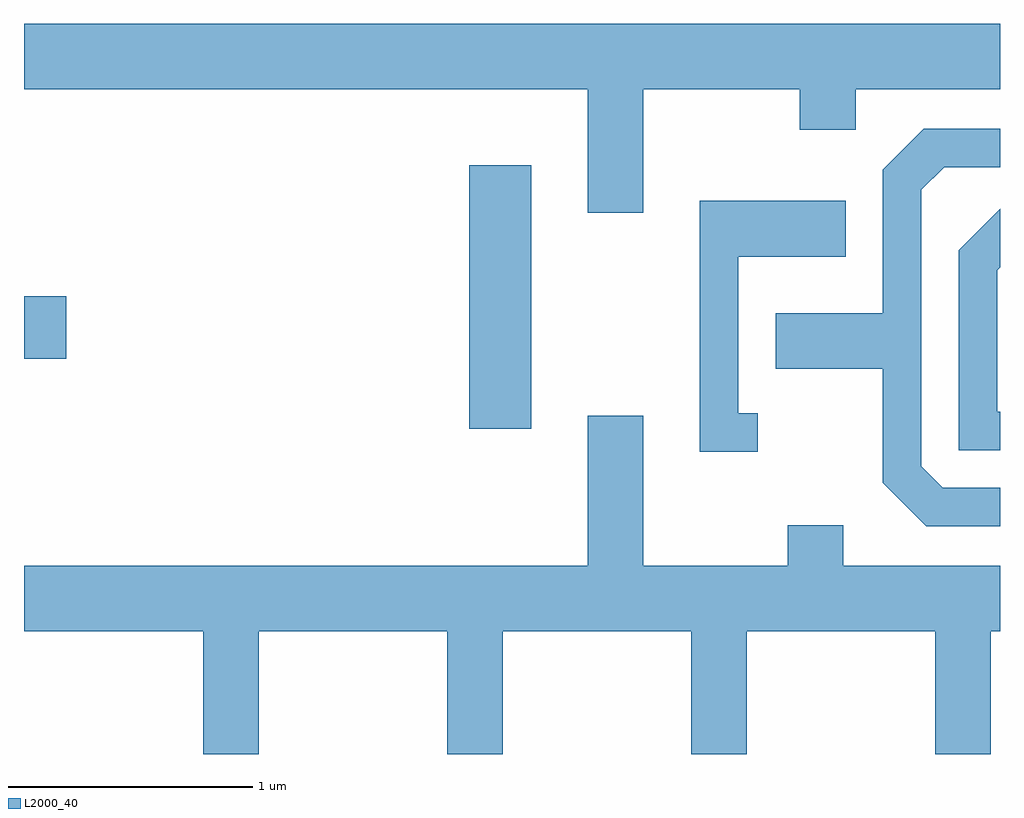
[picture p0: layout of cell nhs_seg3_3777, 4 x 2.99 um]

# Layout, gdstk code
import gdstk
lib = gdstk.Library(unit=1e-6, precision=1e-09)
def R(c, l, rs):  # rectangles x0, y0, x1, y1
    for r in rs: c.add(gdstk.rectangle(r[:2], r[2:], *l))
def P(c, l, *ps):  # polygons
    for p in ps: c.add(gdstk.Polygon(p, *l))
L2000_40 = (2000, 40)

nhs_seg3_3777 = lib.new_cell('nhs_seg3_3777')
R(nhs_seg3_3777, L2000_40, [(297.436,1191.226,297.689,1192.304), (295.611,1191.511,295.784,1191.769)])
P(nhs_seg3_3777, L2000_40, [(298.149,1192.616),(298.791,1192.616),(298.791,1192.451),(299.019,1192.451),(299.019,1192.616),(299.611,1192.616),(299.611,1192.884),(295.611,1192.884),(295.611,1192.616),(297.921,1192.616),(297.921,1192.111),(298.149,1192.111)],
  [(299.611,1190.984),(299.377,1190.984),(299.289,1191.072),(299.289,1192.204),(299.382,1192.296),(299.611,1192.296),(299.611,1192.454),(299.299,1192.454),(299.131,1192.287),(299.131,1191.699),(298.691,1191.699),(298.691,1191.471),(299.131,1191.471),(299.131,1191.004),(299.309,1190.826),(299.611,1190.826)],
  [(298.618,1191.289),(298.539,1191.289),(298.539,1191.931),(298.979,1191.931),(298.979,1192.159),(298.381,1192.159),(298.381,1191.131),(298.618,1191.131)],
  [(299.611,1191.294),(299.599,1191.294),(299.599,1191.874),(299.611,1191.886),(299.611,1192.126),(299.441,1191.957),(299.441,1191.136),(299.611,1191.136)],
  [(296.574,1190.396),(297.346,1190.396),(297.346,1189.892),(297.574,1189.892),(297.574,1190.396),(298.346,1190.396),(298.346,1189.892),(298.574,1189.892),(298.574,1190.396),(299.346,1190.396),(299.346,1189.892),(299.574,1189.892),(299.574,1190.396),(299.611,1190.396),(299.611,1190.664),(298.969,1190.664),(298.969,1190.829),(298.741,1190.829),(298.741,1190.664),(298.149,1190.664),(298.149,1191.279),(297.921,1191.279),(297.921,1190.664),(295.611,1190.664),(295.611,1190.396),(296.346,1190.396),(296.346,1189.892),(296.574,1189.892)])

lib.write_gds('nhs_seg3_3777.gds')
